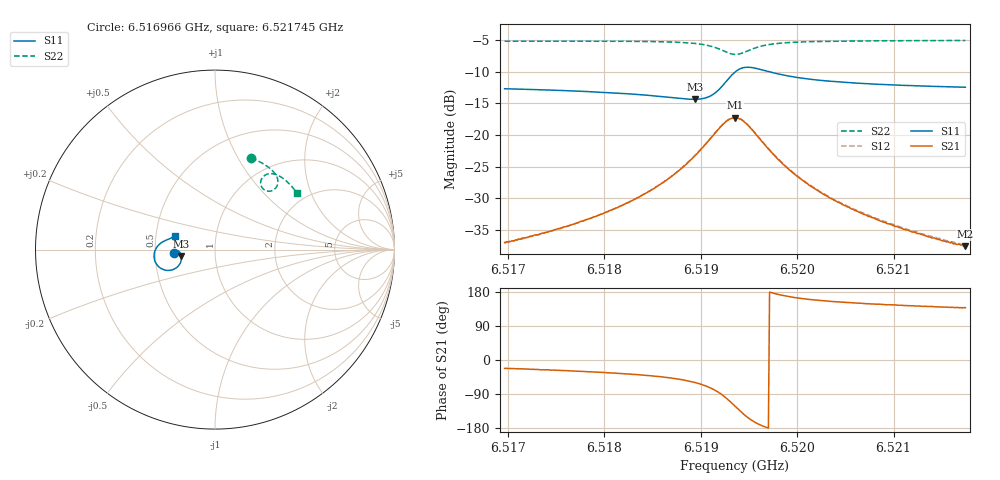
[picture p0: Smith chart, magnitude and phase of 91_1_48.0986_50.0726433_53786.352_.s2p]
#  HZ  S  RI  R  50.00
! Rohde & Schwarz Vector Network Analyzer
! Rohde-Schwarz,ZNB20-2Port,1311601062101988,3.16
! Created: UTC 12/23/2023, 3:43:45 AM
! freq[Hz]  re:S11  im:S11  re:S21  im:S21  re:S12  im:S12  re:S22  im:S22
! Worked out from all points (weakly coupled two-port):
!   401 points, 6.516966 GHz to 6.521745 GHz, reference 50 ohm
!   highest |S21| = -17.29 dB at 6.519355 GHz (marker M1); lowest = -37.6 dB at 6.521745 GHz (marker M2)
!   lowest |S11| = -14.4 dB at 6.518937 GHz (marker M3), VSWR 1.47, Z = 34.1 - j2.54 ohm
!   |S11| at or under -10 dB: start of sweep to 6.519362 GHz; 6.519702 GHz to end of sweep
!   |S22| runs from -7.3 to -5.1 dB; largest |S21 - S12| = 0.0042
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6.5169658e9  -0.2307 -0.0179  0.0131 -0.00533  0.0132 -0.00466  0.2011 0.5101
6.5173959e9  -0.226 -0.0117  0.0154 -0.0074  0.0155 -0.00692  0.2329 0.4968
6.5177663e9  -0.2207 -0.00732  0.0181 -0.0104  0.0184 -0.00982  0.2601 0.483
6.5181606e9  -0.2131 -0.00509  0.0222 -0.0158  0.0227 -0.0152  0.2898 0.4649
6.5183638e9  -0.2079 -0.00593  0.0253 -0.0204  0.026 -0.0197  0.3054 0.4534
6.5185669e9  -0.2014 -0.00966  0.0291 -0.0277  0.0299 -0.027  0.3214 0.4391
6.5187581e9  -0.194 -0.0181  0.0328 -0.0392  0.0343 -0.0383  0.3361 0.4209
6.5189373e9  -0.1874 -0.0359  0.0349 -0.0584  0.037 -0.0578  0.348 0.3964
6.5190448e9  -0.1875 -0.0551  0.0318 -0.0772  0.0344 -0.0769  0.3503 0.3753
6.5191285e9  -0.1943 -0.0767  0.0222 -0.0966  0.0252 -0.0965  0.3456 0.3551
6.5192599e9  -0.2366 -0.1124  -0.0211 -0.1251  -0.0177 -0.1265  0.3131 0.3268
6.5193555e9  -0.2939 -0.1085  -0.0724 -0.1159  -0.0694 -0.1188  0.2734 0.334
6.5194033e9  -0.3186 -0.0903  -0.0923 -0.0972  -0.0902 -0.1006  0.2597 0.3501
6.519463e9  -0.3361 -0.0591  -0.1043 -0.0682  -0.1032 -0.0715  0.2543 0.3739
6.5195705e9  -0.3353 -0.00933  -0.0982 -0.0256  -0.0984 -0.0287  0.2688 0.4066
6.5196661e9  -0.3211 0.0176  -0.0831 -0.00504  -0.0836 -0.00743  0.2891 0.4195
6.5199171e9  -0.2874 0.0452  -0.0519 0.0118  -0.0529 0.0104  0.3319 0.4205
6.520156e9  -0.2686 0.0541  -0.0362 0.0139  -0.037 0.013  0.3591 0.4094
6.5205503e9  -0.2506 0.0615  -0.0232 0.0127  -0.0238 0.0122  0.3913 0.3873
6.5209566e9  -0.2395 0.0675  -0.0164 0.0112  -0.0169 0.0108  0.4174 0.363
6.5213748e9  -0.2308 0.0734  -0.0122 0.0098  -0.0126 0.00966  0.4403 0.3379
6.5217452e9  -0.2246 0.0784  -0.00985 0.00887  -0.0102 0.0089  0.4584 0.315
